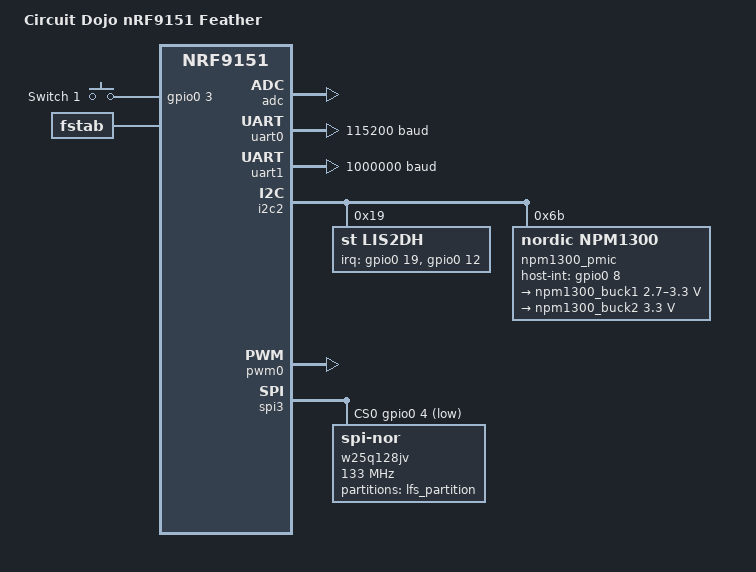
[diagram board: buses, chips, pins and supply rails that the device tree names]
/*
 * Copyright (c) 2018-2020 Nordic Semiconductor ASA
 * Copyright (c) 2020-2026 Circuit Dojo LLC
 *
 * SPDX-License-Identifier: Apache-2.0
 */
#include "circuitdojo_feather_nrf9151_common-pinctrl.dtsi"
#include <zephyr/dt-bindings/input/input-event-codes.h>

/ {
	model = "Circuit Dojo nRF9151 Feather";
	compatible = "circuitdojo,feather-nrf9151";

	chosen {
		zephyr,console = &uart0;
		zephyr,shell-uart = &uart0;
		zephyr,uart-mcumgr = &uart0;
		nordic,modem-trace-uart = &uart1;
		nordic,pm-ext-flash = &w25q128jv;
	};

	buttons {
		compatible = "gpio-keys";
		button0: button_0 {
			gpios = <&gpio0 3 GPIO_ACTIVE_HIGH>;
			label = "Switch 1";
			zephyr,code = <INPUT_KEY_0>;
		};
	};

	/* These aliases are provided for compatibility with samples */
	aliases {
		sw0 = &button0;
		mcuboot-button0 = &button0;
		watchdog0 = &wdt0;
		spi-flash0 = &w25q128jv;
		accel0 = &lis2dh;
		ext-flash = &w25q128jv;
	};

	fstab {
		compatible = "zephyr,fstab";
		lfs: lfs {
			compatible = "zephyr,fstab,littlefs";
			mount-point = "/lfs";
			partition = <&lfs_partition>;
			read-size = <16>;
			prog-size = <16>;
			cache-size = <64>;
			lookahead-size = <32>;
			block-cycles = <512>;
			automount;
		};
	};
};

&adc {
	status = "okay";
};

&gpiote {
	status = "okay";
};

&gpio0 {
	status = "okay";
	sense-edge-mask = <0xffff>;
};

&uart0 {
	status = "okay";
	current-speed = <115200>;
	pinctrl-0 = <&uart0_default>;
	pinctrl-1 = <&uart0_sleep>;
	pinctrl-names = "default", "sleep";
};

&uart1 {
	current-speed = <1000000>;
	pinctrl-0 = <&uart1_default>;
	pinctrl-1 = <&uart1_sleep>;
	pinctrl-names = "default", "sleep";
};

&i2c2 {
	compatible = "nordic,nrf-twim";
	status = "okay";

	pinctrl-0 = <&i2c2_default>;
	pinctrl-1 = <&i2c2_sleep>;
	pinctrl-names = "default", "sleep";

	lis2dh: lis2dh@19 {
		compatible = "st,lis2dh";
		reg = <0x19>;
		irq-gpios = <&gpio0 19 GPIO_ACTIVE_HIGH>, <&gpio0 12 GPIO_ACTIVE_HIGH>;
	};

	npm1300_pmic: pmic@6b {
		compatible = "nordic,npm1300";
		host-int-gpios = <&gpio0 8 GPIO_ACTIVE_HIGH>;
		pmic-int-pin = <1>;
		reg = <0x6b>;

		npm1300_gpio: gpio-controller {
			compatible = "nordic,npm1300-gpio";
			gpio-controller;
			#gpio-cells = <2>;
			ngpios = <5>;
		};

		npm1300_leds: leds {
			compatible = "nordic,npm1300-led";
			nordic,led0-mode = "error";
			nordic,led1-mode = "charging";
			nordic,led2-mode = "host";
		};

		npm1300_charger: charger {
			compatible = "nordic,npm1300-charger";
			term-microvolt = <4150000>;
			term-warm-microvolt = <4000000>;
			current-microamp = <720000>;
			dischg-limit-microamp = <1000000>;
			vbus-limit-microamp = <1000000>;
			thermistor-ohms = <10000>;
			thermistor-beta = <3380>;
			charging-enable;
		};

		npm1300_regulators: regulators {
			compatible = "nordic,npm1300-regulator";

			npm1300_buck1: BUCK1 {
				regulator-min-microvolt = <2700000>;
				regulator-max-microvolt = <3300000>;
				regulator-always-on;
			};

			npm1300_buck2: BUCK2 {
				regulator-min-microvolt = <3300000>;
				regulator-max-microvolt = <3300000>;
			};


		};
	};

};

&pwm0 {
	status = "okay";
	pinctrl-0 = <&pwm0_default>;
	pinctrl-1 = <&pwm0_sleep>;
	pinctrl-names = "default", "sleep";
};

&spi3 {
	compatible = "nordic,nrf-spim";
	status = "okay";
	cs-gpios = <&gpio0 4 GPIO_ACTIVE_LOW>;
	pinctrl-0 = <&spi3_default>;
	pinctrl-1 = <&spi3_sleep>;
	pinctrl-names = "default", "sleep";
	w25q128jv: w25q128jv@0 {
		compatible = "jedec,spi-nor";
		reg = <0>;
		spi-max-frequency = <133000000>;
		size = <0x1000000>;
		has-dpd;
		t-enter-dpd = <30000>;
		t-exit-dpd = <30000>;
		jedec-id = [ ef 40 18  ];
		partitions {
			compatible = "fixed-partitions";
			#address-cells = <1>;
			#size-cells = <1>;

			lfs_partition: partition@0 {
				label = "lfs_partition";
				reg = <0x00000000 DT_SIZE_M(16)>;
			};
		};
	};
};

&flash0 {
	/*
	 * 0x0000_0000  MCUboot                       ( 64 kB)
	 * 0x0001_0000  Primary image area            (448 kB)
	 *   0x0001_0000  Primary secure image        (256 kB)
	 *   0x0005_0000  Primary non-secure image    (192 kB)
	 * 0x0008_0000  Secondary image area          (448 kB)
	 *   0x0008_0000  Secondary secure image      (256 kB)
	 *   0x000c_0000  Secondary non-secure image  (192 kB)
	 * 0x000f_0000  Protected Storage Area        ( 16 kB)
	 * 0x000f_4000  Internal Trusted Storage Area (  8 kB)
	 * 0x000f_6000  OTP / NV counters area        (  8 kB)
	 * 0x000f_8000  Non-secure storage            ( 32 kB)
	 */
	partitions {
		#address-cells = <1>;
		#size-cells = <1>;
		ranges;

		boot_partition: partition@0 {
			compatible = "zephyr,mapped-partition";
			label = "mcuboot";
			reg = <0x00000000 0x10000>;
		};

		slot0_partition: partition@10000 {
			compatible = "zephyr,mapped-partition";
			label = "image-0";
			reg = <0x00010000 0x70000>;
			ranges = <0x0 0x00010000 0x70000>;
			#address-cells = <1>;
			#size-cells = <1>;

			slot0_s_partition: partition@0 {
				compatible = "zephyr,mapped-partition";
				label = "image-0-secure";
				reg = <0x00000000 0x40000>;
			};

			slot0_ns_partition: partition@40000 {
				compatible = "zephyr,mapped-partition";
				label = "image-0-nonsecure";
				reg = <0x00040000 0x30000>;
			};
		};

		slot1_partition: partition@80000 {
			compatible = "zephyr,mapped-partition";
			label = "image-1";
			reg = <0x00080000 0x70000>;
			ranges = <0x0 0x00080000 0x70000>;
			#address-cells = <1>;
			#size-cells = <1>;

			slot1_s_partition: partition@0 {
				compatible = "zephyr,mapped-partition";
				label = "image-1-secure";
				reg = <0x00000000 0x40000>;
			};

			slot1_ns_partition: partition@40000 {
				compatible = "zephyr,mapped-partition";
				label = "image-1-nonsecure";
				reg = <0x00040000 0x30000>;
			};
		};

		tfm_ps_partition: partition@f0000 {
			compatible = "zephyr,mapped-partition";
			label = "tfm-ps";
			reg = <0x000f0000 0x00004000>;
		};

		tfm_its_partition: partition@f4000 {
			compatible = "zephyr,mapped-partition";
			label = "tfm-its";
			reg = <0x000f4000 0x00002000>;
		};

		tfm_otp_partition: partition@f6000 {
			compatible = "zephyr,mapped-partition";
			label = "tfm-otp";
			reg = <0x000f6000 0x00002000>;
		};

		storage_partition: partition@f8000 {
			compatible = "zephyr,mapped-partition";
			label = "storage";
			reg = <0x000f8000 0x00008000>;
		};
	};
};

/ {

	reserved-memory {
		#address-cells = <1>;
		#size-cells = <1>;
		ranges;

		sram0_s: image_s@20000000 {
			/* Secure image memory */
		};

		sram0_ns: image_ns@20016000 {
			/* Non-Secure image memory */
			#address-cells = <1>;
			#size-cells = <1>;

			sram0_modem: sram0_ns_modem: image_modem@0 {
				/* Modem (shared) memory */
				#address-cells = <1>;
				#size-cells = <1>;

				cpuapp_cpucell_ipc_shm_ctrl: image_modem_ctrl@0 {
					/* Modem IPC control */
				};

				cpuapp_cpucell_ipc_shm_heap: image_modem_tx@728 {
					/* Modem IPC transmit */
				};

				cpucell_cpuapp_ipc_shm_heap: image_modem_rx@2800 {
					/* Modem IPC receive */
				};

				cpucell_cpuapp_ipc_shm_trace: image_modem_trace@4800 {
					/* Modem trace */
				};
			};

			sram0_ns_app: image_ns_app@a000 {
				/* Non-Secure application memory */
			};
		};
	};
};

/* Include partition configuration file */
#include "circuitdojo_feather_nrf9151_partition_conf.dtsi"
